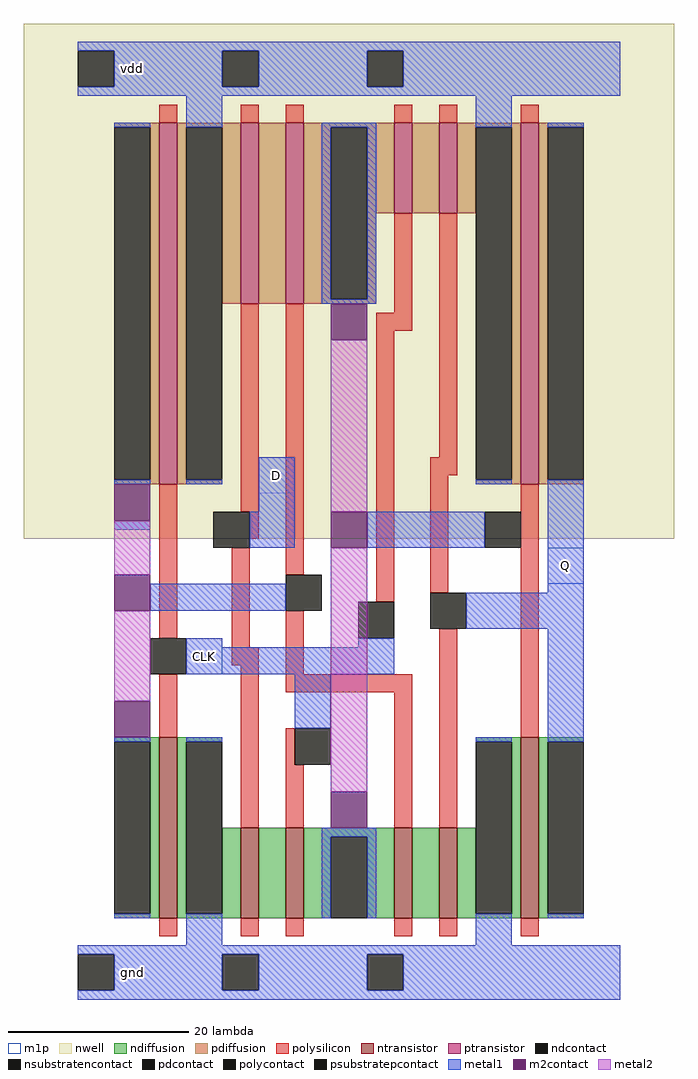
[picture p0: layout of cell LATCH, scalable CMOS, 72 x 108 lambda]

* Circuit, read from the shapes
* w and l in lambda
.subckt LATCH D CLK Q vdd gnd
M1 gnd CLK n1 gnd nfet w=20 l=2
M2 n2 D gnd gnd nfet w=10 l=2
M3 n3 CLK n2 gnd nfet w=10 l=2
M4 n4 n1 n3 gnd nfet w=10 l=2
M5 gnd Q n4 gnd nfet w=10 l=2
M6 Q n3 gnd gnd nfet w=20 l=2
M7 vdd CLK n1 vdd pfet w=40 l=2
M8 n5 D vdd vdd pfet w=20 l=2
M9 n3 n1 n5 vdd pfet w=20 l=2
M10 n6 CLK n3 vdd pfet w=10 l=2
M11 vdd Q n6 vdd pfet w=10 l=2
M12 Q n3 vdd vdd pfet w=40 l=2
.ends

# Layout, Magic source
magic
tech scmos
magscale 1 2
<< nwell >>
rect -16 96 128 210
<< ntransistor >>
rect 14 12 18 52
rect 32 12 36 32
rect 42 12 46 32
rect 66 12 70 32
rect 76 12 80 32
rect 94 12 98 52
<< ptransistor >>
rect 14 108 18 188
rect 32 148 36 188
rect 42 148 46 188
rect 66 168 70 188
rect 76 168 80 188
rect 94 108 98 188
<< ndiffusion >>
rect 4 51 14 52
rect 12 13 14 51
rect 4 12 14 13
rect 18 51 28 52
rect 18 13 20 51
rect 84 51 94 52
rect 28 13 32 32
rect 18 12 32 13
rect 36 12 42 32
rect 46 30 66 32
rect 46 12 52 30
rect 60 12 66 30
rect 70 12 76 32
rect 80 13 84 32
rect 92 13 94 51
rect 80 12 94 13
rect 98 51 108 52
rect 98 13 100 51
rect 98 12 108 13
<< pdiffusion >>
rect 4 187 14 188
rect 12 109 14 187
rect 4 108 14 109
rect 18 187 32 188
rect 18 109 20 187
rect 28 148 32 187
rect 36 148 42 188
rect 46 187 66 188
rect 46 149 52 187
rect 60 168 66 187
rect 70 168 76 188
rect 80 187 94 188
rect 80 168 84 187
rect 60 149 62 168
rect 46 148 62 149
rect 18 108 28 109
rect 92 109 94 187
rect 84 108 94 109
rect 98 187 108 188
rect 98 109 100 187
rect 98 108 108 109
<< ndcontact >>
rect 4 13 12 51
rect 20 13 28 51
rect 52 12 60 30
rect 84 13 92 51
rect 100 13 108 51
<< pdcontact >>
rect 4 109 12 187
rect 20 109 28 187
rect 52 149 60 187
rect 84 109 92 187
rect 100 109 108 187
<< psubstratepcontact >>
rect -4 -4 4 4
rect 28 -4 36 4
rect 60 -4 68 4
<< nsubstratencontact >>
rect -4 196 4 204
rect 28 196 36 204
rect 60 196 68 204
<< polysilicon >>
rect 14 188 18 192
rect 32 188 36 192
rect 42 188 46 192
rect 66 188 70 192
rect 76 188 80 192
rect 94 188 98 192
rect 14 74 18 108
rect 32 102 36 148
rect 34 96 36 102
rect 30 72 34 94
rect 42 88 46 148
rect 66 146 70 168
rect 62 142 70 146
rect 62 82 66 142
rect 76 114 80 168
rect 30 68 36 72
rect 14 52 18 66
rect 32 32 36 68
rect 42 66 46 80
rect 74 110 80 114
rect 74 84 78 110
rect 42 62 70 66
rect 42 46 44 54
rect 42 32 46 46
rect 66 32 70 62
rect 76 32 80 76
rect 94 52 98 108
rect 14 8 18 12
rect 32 8 36 12
rect 42 8 46 12
rect 66 8 70 12
rect 76 8 80 12
rect 94 8 98 12
<< polycontact >>
rect 26 94 34 102
rect 12 66 20 74
rect 42 80 50 88
rect 58 74 66 82
rect 86 94 94 102
rect 74 76 82 84
rect 44 46 52 54
<< metal1 >>
rect -4 204 116 206
rect 4 196 28 204
rect 36 196 60 204
rect 68 196 116 204
rect -4 194 116 196
rect 4 187 12 188
rect 4 108 12 109
rect 20 187 28 194
rect 50 187 62 188
rect 50 149 52 187
rect 60 149 62 187
rect 50 148 62 149
rect 84 187 92 194
rect 20 108 28 109
rect 36 102 44 114
rect 84 108 92 109
rect 100 187 108 188
rect 4 98 12 100
rect 34 94 44 102
rect 60 94 86 102
rect 12 80 42 86
rect 100 84 108 109
rect 82 76 108 84
rect 20 72 28 74
rect 58 72 66 74
rect 20 66 66 72
rect 44 54 52 66
rect 4 51 12 52
rect 4 12 12 13
rect 20 51 28 52
rect 84 51 92 52
rect 20 6 28 13
rect 50 30 62 32
rect 50 12 52 30
rect 60 12 62 30
rect 84 6 92 13
rect 100 51 108 76
rect 100 12 108 13
rect -4 4 116 6
rect 4 -4 28 4
rect 36 -4 60 4
rect 68 -4 116 4
rect -4 -6 116 -4
<< m2contact >>
rect 52 140 60 148
rect 4 100 12 108
rect 52 94 60 102
rect 4 80 12 88
rect 4 52 12 60
rect 52 32 60 40
<< metal2 >>
rect 4 88 12 100
rect 4 60 12 80
rect 52 102 60 140
rect 52 40 60 94
<< m1p >>
rect 36 106 44 114
rect 100 86 108 94
rect 20 66 28 74
<< labels >>
rlabel metal1 40 110 40 110 4 D
port 1 se
rlabel metal1 104 90 104 90 4 Q
port 3 se
rlabel metal1 8 0 8 0 4 gnd
port 5 se
rlabel metal1 8 200 8 200 4 vdd
port 4 se
rlabel metal1 24 70 24 70 4 CLK
port 2 se
<< end >>
